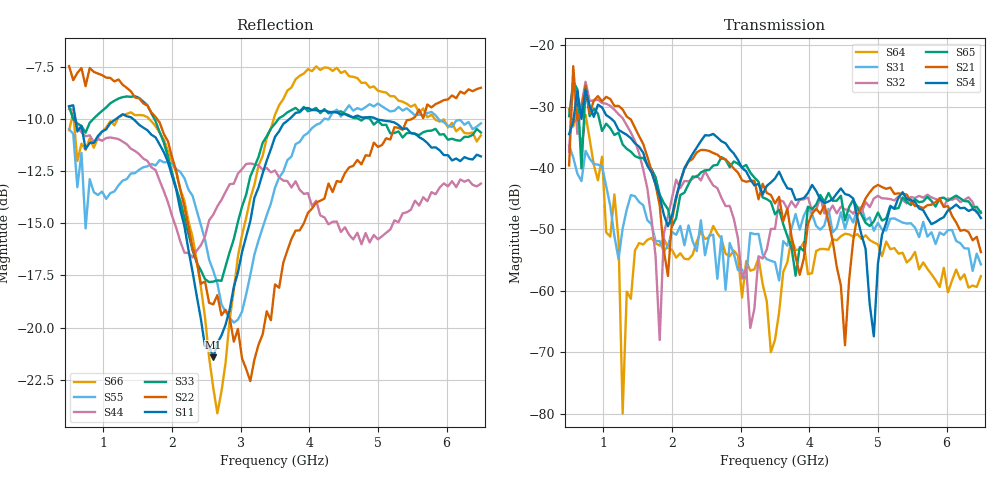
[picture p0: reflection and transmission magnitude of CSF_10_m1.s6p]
!Keysight Technologies,M9804A,MY58100912,A.14.10.03
!Date: Thursday, April 27, 2023 10:28:33
!Correction: S11(C  6-Port  )
!S12(C  6-Port  )
!S13(C  6-Port  )
!S14(C  6-Port  )
!S15(C  6-Port  )
!S16(C  6-Port  )
!S21(C  6-Port  )
!S22(C  6-Port  )
!S23(C  6-Port  )
!S24(C  6-Port  )
!S25(C  6-Port  )
!S26(C  6-Port  )
!S31(C  6-Port  )
!S32(C  6-Port  )
!S33(C  6-Port  )
!S34(C  6-Port  )
!S35(C  6-Port  )
!S36(C  6-Port  )
!S41(C  6-Port  )
!S42(C  6-Port  )
!S43(C  6-Port  )
!S44(C  6-Port  )
!S45(C  6-Port  )
!S46(C  6-Port  )
!S51(C  6-Port  )
!S52(C  6-Port  )
!S53(C  6-Port  )
!S54(C  6-Port  )
!S55(C  6-Port  )
!S56(C  6-Port  )
!S61(C  6-Port  )
!S62(C  6-Port  )
!S63(C  6-Port  )
!S64(C  6-Port  )
!S65(C  6-Port  )
!S66(C  6-Port  )
!S6P File: Measurement: :
# Hz S  RI  R 50
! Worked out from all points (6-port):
!   101 points, 500 MHz to 6.5 GHz, reference 50 ohm
!   strongest paths, dB at 500 MHz, 2 GHz, 3.5 GHz, 5 GHz, 6.5 GHz:
!     S54: -34.5, -47.7, -41.7, -55.6, -48.2
!     S21: -39.6, -48.4, -45.8, -42.8, -53.7
!     S65: -31.6, -49.5, -47.5, -47.2, -47.3
!     S32: -37.3, -44.8, -49.9, -44.5, -47.1
!     S31: -36.3, -50.4, -55.3, -48.9, -55.7
!     S64: -30.4, -53.3, -68.0, -52.4, -57.6
!   lowest |S11| = -21.4 dB at 2.6 GHz (marker M1), VSWR 1.19, Z = 42.5 + j2.21 ohm
!   |S11| at or under -10 dB: 590.9 MHz to 1.188 GHz (596.6 MHz wide, 67.1 % of centre); 1.428 GHz to 3.714 GHz (2.286 GHz wide, 88.9 % of centre); 4.974 GHz to end of sweep
